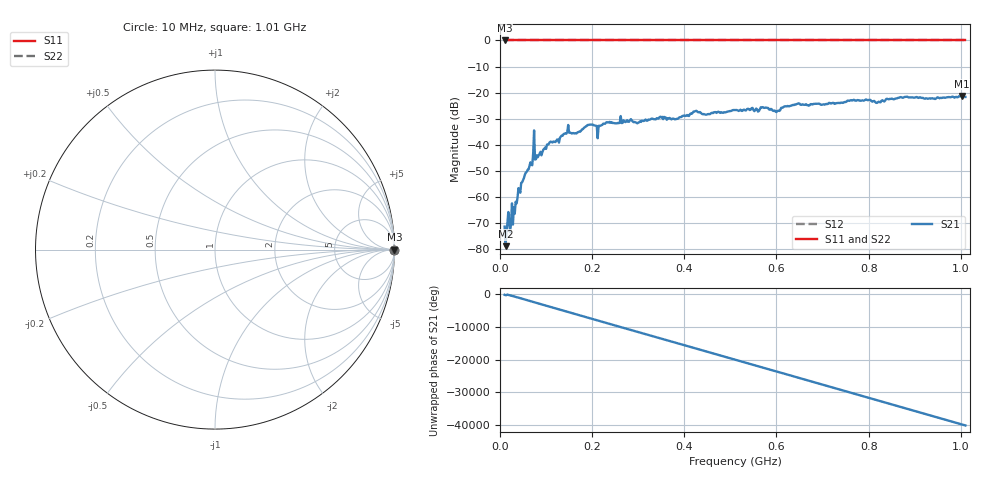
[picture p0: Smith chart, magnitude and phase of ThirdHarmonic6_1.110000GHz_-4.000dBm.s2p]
! 8/16/2025 10:32:45 AM
! C:\ANRITSUVNA\TEMP\TEMP.S2P
! CHANNEL.1
! TR.MEASUREMENT
! RAW.DATA
! RF.CORRECTION.OFF
! AVERAGING.OFF
! IF.BANDWIDTH: 5KHZ
! SWEEPTYPE:  FREQ.SWEEP(Linear)
! Reference Plane Port Info
! PORT:  PORT1  PORT2
! DISTANCE:  0  m  0  m
! TIME:  0  s  0  s
! PHASE.OFFSET:  0  deg.  0  deg.
! LOSS:  0  dB  0  dB
! REF.LOSS:  0  dB  0  dB
! REF.FREQ:  0  Hz  0  Hz
! Power Info
! POWER:  -20  dBm  -20  dBm
! EFF.POWER:  -20  dBm  -20  dBm
! SOURCE.ATTEN:  0  dB  0  dB
! TEST.ATTEN:  0  dB  0  dB
# GHZ S RI R 50.0
! FREQ.GHZ  S11RE  S11IM  S21RE  S21IM  S12RE  S12IM  S22RE  S22IM
!; PortSelection: Port_12
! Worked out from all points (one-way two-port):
!   501 points, 10 MHz to 1.01 GHz, reference 50 ohm
!   highest |S21| = -21.24 dB at 1.002 GHz (marker M1); lowest = -78.8 dB at 12 MHz (marker M2)
!   lowest |S11| = 0.0 dB at 10 MHz (marker M3)
!   |S11| at or under -10 dB: nowhere
!   |S22| runs from 0.0 to 0.0 dB; largest |S21 - S12| = 1.1
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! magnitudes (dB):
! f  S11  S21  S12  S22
! 10 MHz  0.0  -71.3  0.0  0.0
! 12 MHz  0.0  -78.8  0.0  0.0
! 22 MHz  0.0  -73.3  0.0  0.0
! 24 MHz  0.0  -69.9  0.0  0.0
! 44 MHz  0.0  -58.3  0.0  0.0
! 66 MHz  0.0  -46.7  0.0  0.0
! 70 MHz  0.0  -47.8  0.0  0.0
! 76 MHz  0.0  -45.6  0.0  0.0
! 80 MHz  0.0  -44.0  0.0  0.0
! 106 MHz  0.0  -39.5  0.0  0.0
! 144 MHz  0.0  -35.7  0.0  0.0
! 178 MHz  0.0  -34.0  0.0  0.0
! 194 MHz  0.0  -32.3  0.0  0.0
! 214 MHz  0.0  -32.7  0.0  0.0
! 234 MHz  0.0  -31.4  0.0  0.0
! 344 MHz  0.0  -29.8  0.0  0.0
! 510 MHz  0.0  -26.7  0.0  0.0
! 602 MHz  0.0  -27.0  0.0  0.0
! 678 MHz  0.0  -24.5  0.0  0.0
! 844 MHz  0.0  -22.5  0.0  0.0
! 1.002 GHz  0.0  -21.2  0.0  0.0
! 1.01 GHz  0.0  -21.6  0.0  0.0
